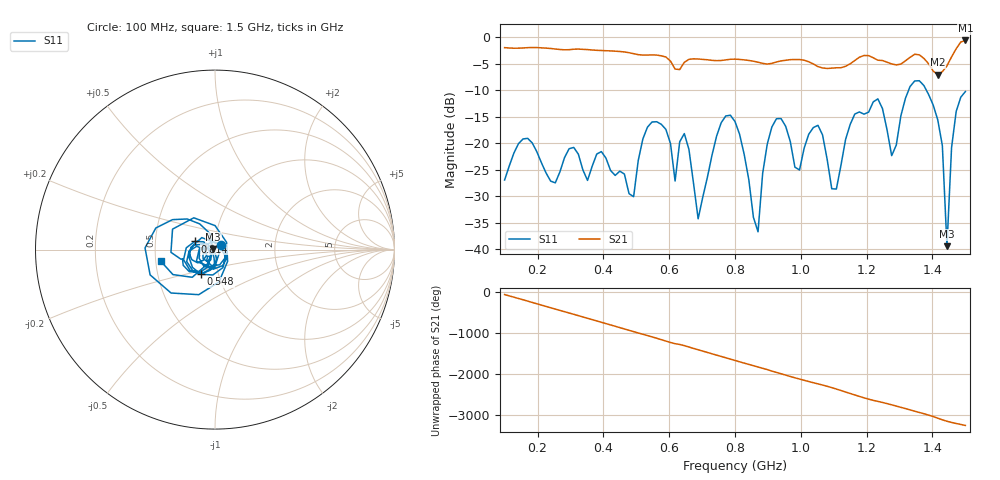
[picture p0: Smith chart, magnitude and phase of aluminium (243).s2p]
! NanoVNA-App
! Date: 2025-09-25 14:57:10
! Start: 100MHz Stop: 1,5GHz Points: 101
! S-Parameter data: F S11 S21 S12 S22
# Hz S RI R 50
!  Frequency  S11_Real  S11_Imag  S21_Real  S21_Imag  S12_Real  S12_Imag  S22_Real  S22_Imag
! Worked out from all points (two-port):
!   101 points, 100 MHz to 1.5 GHz, reference 50 ohm
!   highest |S21| = -0.56 dB at 1.5 GHz (marker M1); lowest = -7.0 dB at 1.416 GHz (marker M2)
!   |S21| within 3 dB of the highest: start of sweep to 581.9 MHz; 1.459 GHz to end of sweep (the widest 2 of 4)
!   lowest |S11| = -39.5 dB at 1.444 GHz (marker M3), VSWR 1.02, Z = 49 + j0.27 ohm
!   |S11| at or under -10 dB: start of sweep to 1.327 GHz; 1.382 GHz to end of sweep
!   S12 and S22 are empty: the file has one direction only
!   S11 on the Smith chart (normalised r, x): 100 MHz: 1.07, +0.06; 548 MHz: 0.82, -0.23; 814 MHz: 0.79, +0.07; 1.5 GHz: 0.53, -0.08
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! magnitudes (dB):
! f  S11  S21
! 100 MHz  -27.0  -1.9
! 338 MHz  -25.1  -2.2
! 492 MHz  -30.1  -3.1
! 548 MHz  -16.0  -3.3
! 576 MHz  -16.4  -3.5
! 618 MHz  -27.2  -6.0
! 646 MHz  -18.2  -4.7
! 688 MHz  -34.3  -4.1
! 800 MHz  -15.9  -4.1
! 814 MHz  -18.3  -4.1
! 870 MHz  -36.8  -4.7
! 912 MHz  -16.9  -4.9
! 996 MHz  -25.1  -4.2
! 1.038 GHz  -17.0  -5.0
! 1.094 GHz  -28.6  -5.8
! 1.234 GHz  -11.6  -4.3
! 1.276 GHz  -22.4  -5.0
! 1.346 GHz  -8.2  -3.2
! 1.416 GHz  -15.6  -7.0
! 1.444 GHz  -39.5  -5.4
! 1.458 GHz  -20.8  -3.7
! 1.5 GHz  -10.2  -0.6
